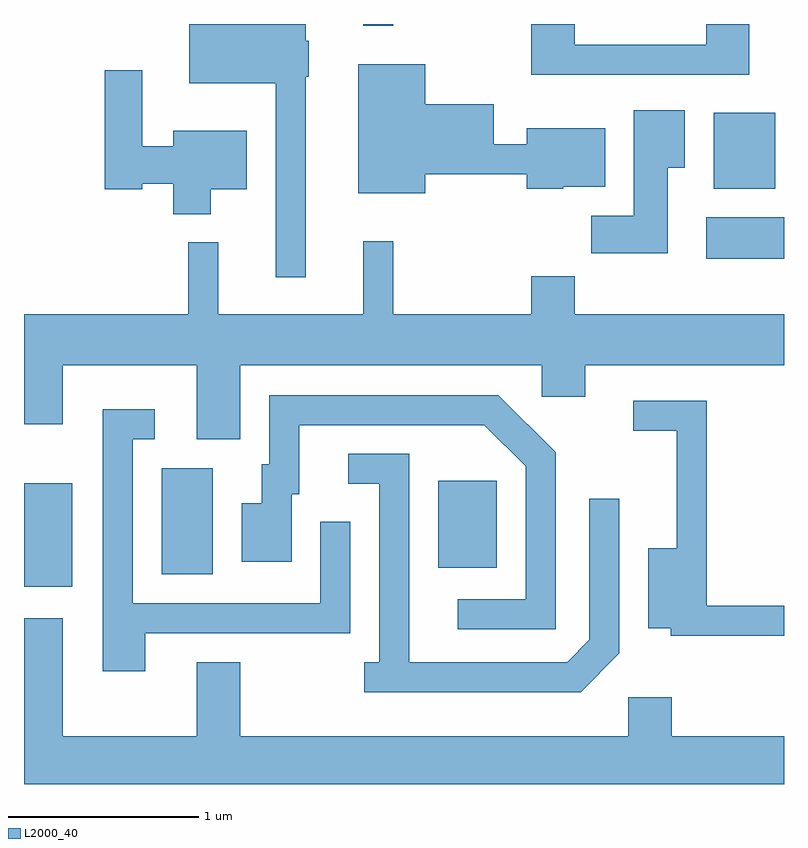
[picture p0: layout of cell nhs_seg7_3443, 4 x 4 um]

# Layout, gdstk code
import gdstk
lib = gdstk.Library(unit=1e-6, precision=1e-09)
def R(c, l, rs):  # rectangles x0, y0, x1, y1
    for r in rs: c.add(gdstk.rectangle(r[:2], r[2:], *l))
def P(c, l, *ps):  # polygons
    for p in ps: c.add(gdstk.Polygon(p, *l))
L2000_40 = (2000, 40)

nhs_seg7_3443 = lib.new_cell('nhs_seg7_3443')
R(nhs_seg7_3443, L2000_40, [(289.611,1795.291,289.864,1795.834), (290.336,1795.356,290.604,1795.914), (291.791,1795.391,292.099,1795.849), (293.201,1797.016,293.611,1797.234), (293.241,1797.386,293.564,1797.784), (291.396,1798.243,291.554,1798.252)])
P(nhs_seg7_3443, L2000_40, [(291.094,1797.975),(291.109,1797.975),(291.109,1798.165),(291.094,1798.165),(291.094,1798.252),(290.481,1798.252),(290.481,1797.941),(290.936,1797.941),(290.936,1796.918),(291.094,1796.918)],
  [(293.429,1798.252),(293.201,1798.252),(293.201,1798.144),(292.509,1798.144),(292.509,1798.252),(292.281,1798.252),(292.281,1797.986),(293.429,1797.986)],
  [(291.724,1797.461),(292.256,1797.461),(292.256,1797.386),(292.45,1797.386),(292.45,1797.396),(292.669,1797.396),(292.669,1797.704),(292.256,1797.704),(292.256,1797.619),(292.084,1797.619),(292.084,1797.829),(291.724,1797.829),(291.724,1798.039),(291.371,1798.039),(291.371,1797.361),(291.724,1797.361)],
  [(290.594,1797.381),(290.784,1797.381),(290.784,1797.689),(290.396,1797.689),(290.396,1797.609),(290.234,1797.609),(290.234,1798.009),(290.036,1798.009),(290.036,1797.381),(290.234,1797.381),(290.234,1797.411),(290.396,1797.411),(290.396,1797.251),(290.594,1797.251)],
  [(292.999,1797.496),(293.089,1797.496),(293.089,1797.799),(292.821,1797.799),(292.821,1797.244),(292.596,1797.244),(292.596,1797.046),(292.999,1797.046)],
  [(290.749,1796.456),(292.336,1796.456),(292.336,1796.291),(292.564,1796.291),(292.564,1796.456),(293.611,1796.456),(293.611,1796.724),(292.509,1796.724),(292.509,1796.924),(292.281,1796.924),(292.281,1796.724),(291.554,1796.724),(291.554,1797.108),(291.396,1797.108),(291.396,1796.724),(290.634,1796.724),(290.634,1797.103),(290.476,1797.103),(290.476,1796.724),(289.611,1796.724),(289.611,1796.146),(289.814,1796.146),(289.814,1796.456),(290.521,1796.456),(290.521,1796.066),(290.749,1796.066)],
  [(292.409,1795.997),(292.107,1796.299),(290.901,1796.299),(290.901,1795.934),(290.861,1795.934),(290.861,1795.729),(290.756,1795.729),(290.756,1795.421),(291.019,1795.421),(291.019,1795.776),(291.059,1795.776),(291.059,1796.141),(292.034,1796.141),(292.251,1795.924),(292.251,1795.224),(291.893,1795.224),(291.893,1795.066),(292.409,1795.066)],
  [(293.611,1795.189),(293.204,1795.189),(293.204,1796.269),(292.818,1796.269),(292.818,1796.111),(293.046,1796.111),(293.046,1795.494),(292.896,1795.494),(292.896,1795.071),(293.016,1795.071),(293.016,1795.031),(293.611,1795.031)],
  [(290.249,1795.046),(291.329,1795.046),(291.329,1795.633),(291.171,1795.633),(291.171,1795.204),(290.184,1795.204),(290.184,1796.066),(290.298,1796.066),(290.298,1796.224),(290.026,1796.224),(290.026,1794.846),(290.249,1794.846)],
  [(292.744,1794.939),(292.744,1795.753),(292.586,1795.753),(292.586,1795.012),(292.469,1794.894),(291.639,1794.894),(291.639,1795.989),(291.318,1795.989),(291.318,1795.831),(291.481,1795.831),(291.481,1794.894),(291.403,1794.894),(291.403,1794.736),(292.542,1794.736)],
  [(293.611,1794.504),(293.019,1794.504),(293.019,1794.709),(292.791,1794.709),(292.791,1794.504),(290.749,1794.504),(290.749,1794.894),(290.521,1794.894),(290.521,1794.504),(289.814,1794.504),(289.814,1795.124),(289.611,1795.124),(289.611,1794.252),(293.611,1794.252)])

lib.write_gds('nhs_seg7_3443.gds')
